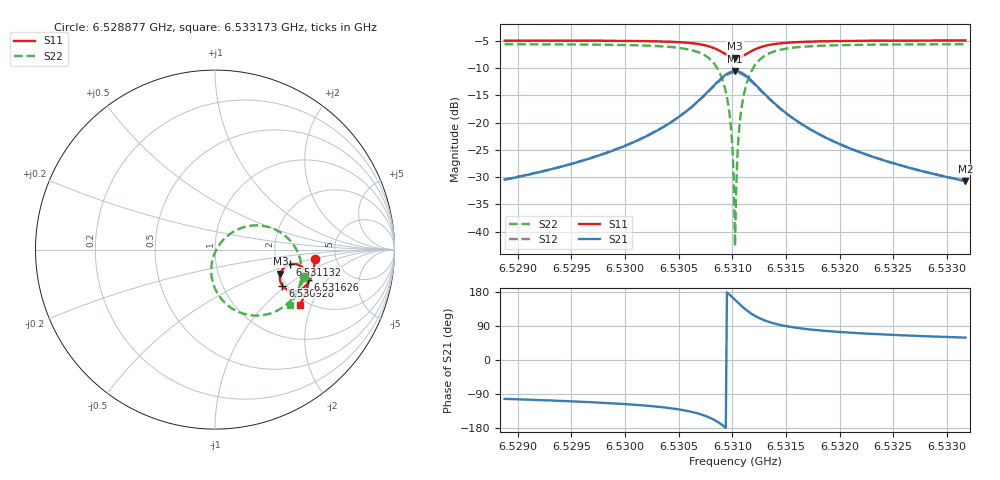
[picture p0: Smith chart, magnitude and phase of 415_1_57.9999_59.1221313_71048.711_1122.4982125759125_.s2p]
#  HZ  S  RI  R  50.00
! Rohde & Schwarz Vector Network Analyzer
! Rohde-Schwarz,ZNB20-2Port,1311601062101988,3.16
! Created: UTC 3/21/2024, 1:08:54 AM
! freq[Hz]  re:S11  im:S11  re:S21  im:S21  re:S12  im:S12  re:S22  im:S22
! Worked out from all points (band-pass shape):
!   401 points, 6.528877 GHz to 6.533173 GHz, reference 50 ohm
!   highest |S21| = -10.58 dB at 6.531025 GHz (marker M1); lowest = -30.7 dB at 6.533173 GHz (marker M2)
!   |S21| within 3 dB of the highest: 6.530811 GHz to 6.531241 GHz (429.9 kHz wide, 0.00658 % of centre)
!   lowest |S11| = -8.2 dB at 6.531025 GHz (marker M3), VSWR 2.27, Z = 101 - j31.8 ohm
!   |S11| at or under -10 dB: nowhere
!   |S22| runs from -42.6 to -5.7 dB; largest |S21 - S12| = 0.011
!   S11 on the Smith chart (normalised r, x): 6.528877 GHz: 3.47, -0.53; 6.530928 GHz: 1.90, -0.93; 6.531132 GHz: 2.36, -0.48; 6.531626 GHz: 2.71, -1.29; 6.533173 GHz: 1.82, -1.65
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6.5288768e9  0.5586 -0.0523  -0.00649 -0.0293  -0.00699 -0.0293  0.4966 -0.1551
6.5295963e9  0.549 -0.1116  -0.0155 -0.0418  -0.0163 -0.0416  0.4674 -0.2211
6.5303158e9  0.5213 -0.1815  -0.0477 -0.0718  -0.0497 -0.0706  0.3892 -0.3132
6.5307454e9  0.4529 -0.2313  -0.1514 -0.0974  -0.1538 -0.0916  0.1893 -0.3642
6.5308528e9  0.4096 -0.2268  -0.2188 -0.0727  -0.2182 -0.0639  0.0743 -0.313
6.530928e9  0.376 -0.2009  -0.2687 -0.0167  -0.2635 -0.00745  -0.00217 -0.2112
6.5309709e9  0.3633 -0.1743  -0.2844 0.0339  -0.2763 0.0417  -0.0209 -0.1239
6.5309924e9  0.3611 -0.1585  -0.2852 0.063  -0.276 0.0692  -0.0176 -0.0759
6.5310032e9  0.3612 -0.1504  -0.2836 0.0779  -0.2739 0.0831  -0.0125 -0.052
6.5310139e9  0.3622 -0.1423  -0.2803 0.0924  -0.2704 0.097  -0.00517 -0.0282
6.5310246e9  0.364 -0.1343  -0.2758 0.1069  -0.2657 0.1104  0.00487 -0.00555
6.5310354e9  0.3668 -0.1266  -0.2697 0.1205  -0.2596 0.1233  0.017 0.0163
6.5310461e9  0.3704 -0.1192  -0.2624 0.1339  -0.2524 0.1355  0.031 0.0368
6.5310569e9  0.3747 -0.1124  -0.2538 0.146  -0.244 0.1469  0.047 0.0556
6.5310783e9  0.3849 -0.1003  -0.2339 0.1673  -0.2248 0.1668  0.0832 0.0873
6.531132e9  0.4169 -0.0825  -0.1758 0.1991  -0.1694 0.1961  0.1841 0.1307
6.5311965e9  0.453 -0.0816  -0.1118 0.2032  -0.1082 0.2003  0.2922 0.1272
6.5312931e9  0.4891 -0.0998  -0.0492 0.1789  -0.0474 0.1771  0.3956 0.073
6.531626e9  0.5192 -0.1669  0.0106 0.099  0.0118 0.0987  0.4816 -0.093
6.5317442e9  0.5188 -0.1837  0.0147 0.0833  0.0157 0.0831  0.483 -0.1282
6.5324637e9  0.499 -0.2558  0.017 0.0398  0.0179 0.0398  0.4555 -0.2442
6.5331725e9  0.4715 -0.3081  0.0149 0.025  0.0155 0.0248  0.4203 -0.306
